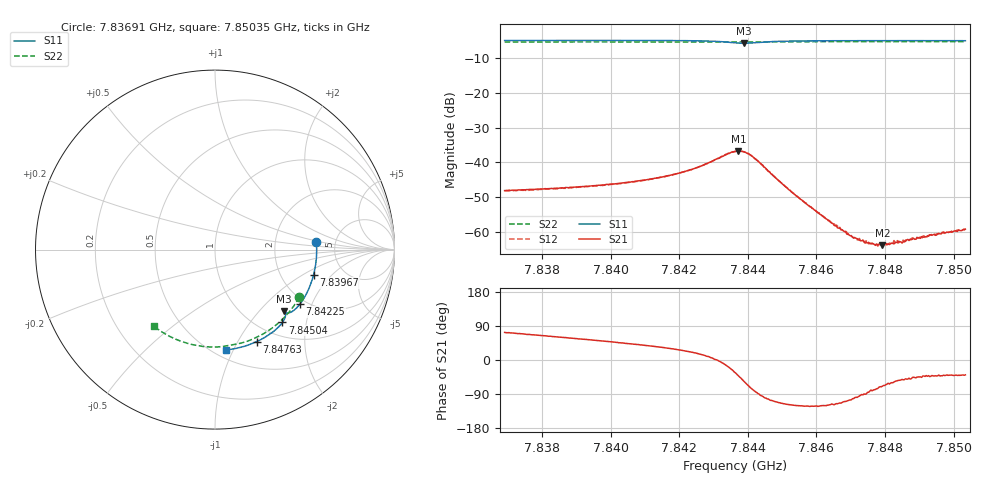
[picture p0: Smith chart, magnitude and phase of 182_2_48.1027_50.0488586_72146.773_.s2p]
#  HZ  S  RI  R  50.00
! Rohde & Schwarz Vector Network Analyzer
! Rohde-Schwarz,ZNB20-2Port,1311601062101988,3.16
! Created: UTC 12/23/2023, 3:52:51 AM
! freq[Hz]  re:S11  im:S11  re:S21  im:S21  re:S12  im:S12  re:S22  im:S22
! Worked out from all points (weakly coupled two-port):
!   401 points, 7.83691 GHz to 7.85035 GHz, reference 50 ohm
!   highest |S21| = -36.72 dB at 7.84373 GHz (marker M1); lowest = -63.9 dB at 7.84793 GHz (marker M2)
!   lowest |S11| = -5.7 dB at 7.8439 GHz (marker M3), VSWR 3.14, Z = 73.8 - j69.4 ohm
!   |S11| at or under -10 dB: nowhere
!   |S22| runs from -5.4 to -5.3 dB; largest |S21 - S12| = 0.00027
!   S11 on the Smith chart (normalised r, x): 7.83691 GHz: 3.55, +0.43; 7.83967 GHz: 3.04, -1.26; 7.84225 GHz: 1.86, -1.64; 7.84504 GHz: 1.25, -1.46; 7.84763 GHz: 0.80, -1.20; 7.85035 GHz: 0.57, -0.93
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7.836912e9  0.5646 0.0416  0.00116 0.00375  0.00123 0.0037  0.47 -0.2647
7.839162e9  0.5566 -0.1076  0.00256 0.00368  0.00254 0.00364  0.3744 -0.3895
7.839666e9  0.5491 -0.1406  0.00296 0.00363  0.0029 0.00358  0.3482 -0.4132
7.841412e9  0.5065 -0.2518  0.00499 0.0034  0.00496 0.00341  0.2469 -0.4815
7.842252e9  0.4742 -0.3027  0.00704 0.00292  0.00699 0.00294  0.193 -0.5056
7.843125e9  0.4242 -0.348  0.0114 -0.00013  0.0113 -0.000124  0.1342 -0.5237
7.843629e9  0.3893 -0.3514  0.012 -0.00777  0.0121 -0.00769  0.1005 -0.5295
7.84373e9  0.3855 -0.3484  0.0109 -0.00972  0.0111 -0.00959  0.094 -0.5305
7.843897e9  0.3851 -0.3445  0.00772 -0.0119  0.00779 -0.0117  0.0835 -0.5323
7.844166e9  0.3914 -0.3492  0.00212 -0.0116  0.00215 -0.0116  0.0662 -0.5357
7.845039e9  0.376 -0.4056  -0.00203 -0.0043  -0.00199 -0.00432  0.00545 -0.5425
7.845879e9  0.3345 -0.4491  -0.00115 -0.00185  -0.00116 -0.00187  -0.0537 -0.5408
7.846719e9  0.2873 -0.4832  -0.000441 -0.000996  -0.000398 -0.000991  -0.1122 -0.5324
7.846954e9  0.2736 -0.4914  -0.000252 -0.000871  -0.00028 -0.000905  -0.1283 -0.5288
7.847122e9  0.2635 -0.497  -0.000133 -0.000817  -0.000155 -0.000817  -0.1398 -0.5261
7.847457e9  0.2435 -0.5074  9.67e-06 -0.000704  2.03e-05 -0.000744  -0.1624 -0.5197
7.847625e9  0.2331 -0.5123  0.000103 -0.00068  0.000115 -0.000661  -0.1736 -0.5163
7.847726e9  0.227 -0.5151  0.000137 -0.000626  0.000155 -0.000639  -0.1803 -0.5141
7.847928e9  0.2146 -0.5205  0.00023 -0.000595  0.000258 -0.00064  -0.1937 -0.5091
7.848129e9  0.2022 -0.5254  0.000295 -0.000587  0.000341 -0.000593  -0.207 -0.5041
7.849641e9  0.1051 -0.5526  0.000701 -0.000622  0.000731 -0.000649  -0.3007 -0.4554
7.850346e9  0.0588 -0.5593  0.000848 -0.000694  0.000828 -0.000691  -0.341 -0.4266
